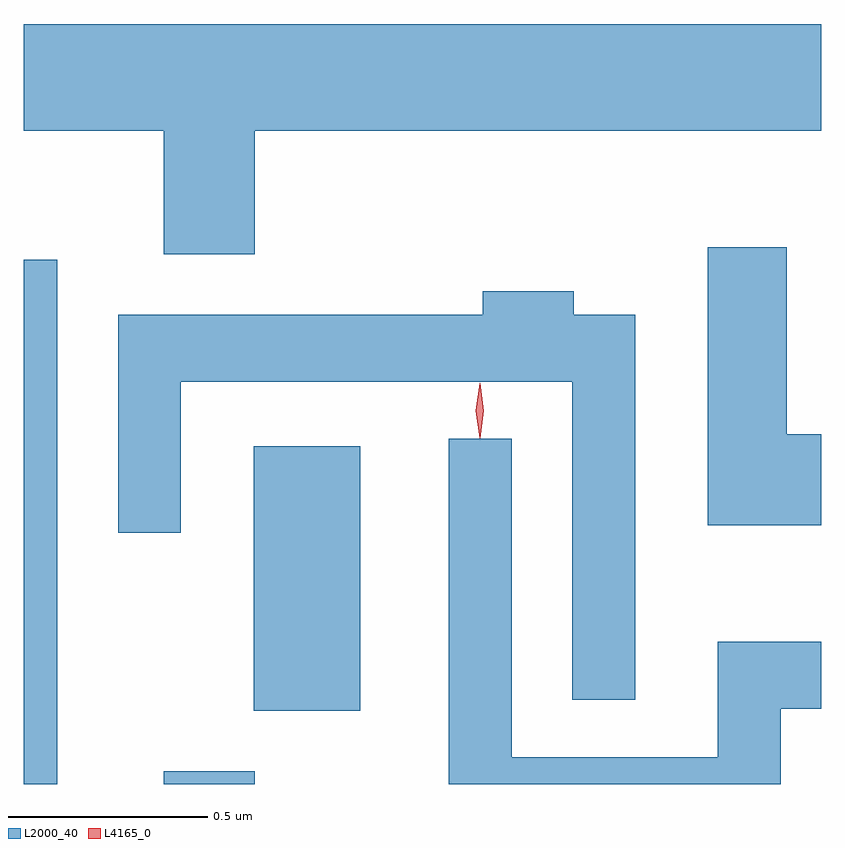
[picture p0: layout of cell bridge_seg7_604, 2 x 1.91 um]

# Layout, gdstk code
import gdstk
lib = gdstk.Library(unit=1e-6, precision=1e-09)
def R(c, l, rs):  # rectangles x0, y0, x1, y1
    for r in rs: c.add(gdstk.rectangle(r[:2], r[2:], *l))
def P(c, l, *ps):  # polygons
    for p in ps: c.add(gdstk.Polygon(p, *l))
L2000_40 = (2000, 40)
L4165_0 = (4165, 0)

bridge_seg7_604 = lib.new_cell('bridge_seg7_604')
R(bridge_seg7_604, L2000_40, [(655.36,1799.257,655.444,1800.573), (655.711,1799.257,655.939,1799.289), (655.936,1799.441,656.204,1800.104)])
P(bridge_seg7_604, L2000_40, [(655.939,1800.896),(657.36,1800.896),(657.36,1801.164),(655.36,1801.164),(655.36,1800.896),(655.711,1800.896),(655.711,1800.586),(655.939,1800.586)],
  [(657.36,1800.134),(657.274,1800.134),(657.274,1800.604),(657.076,1800.604),(657.076,1799.906),(657.36,1799.906)],
  [(656.894,1800.434),(656.739,1800.434),(656.739,1800.494),(656.511,1800.494),(656.511,1800.434),(655.596,1800.434),(655.596,1799.888),(655.754,1799.888),(655.754,1800.266),(656.736,1800.266),(656.736,1799.468),(656.894,1799.468)],
  [(657.259,1799.446),(657.36,1799.446),(657.36,1799.614),(657.101,1799.614),(657.101,1799.324),(656.584,1799.324),(656.584,1800.123),(656.426,1800.123),(656.426,1799.257),(657.259,1799.257)])
P(bridge_seg7_604, L4165_0, [(656.504,1800.124),(656.504,1800.124),(656.494,1800.193),(656.504,1800.262),(656.504,1800.263),(656.505,1800.262),(656.514,1800.193),(656.505,1800.124)],
  [(656.504,1800.127),(656.495,1800.194),(656.504,1800.26),(656.504,1800.26),(656.505,1800.26),(656.514,1800.194),(656.505,1800.127),(656.505,1800.127)])

lib.write_gds('bridge_seg7_604.gds')
